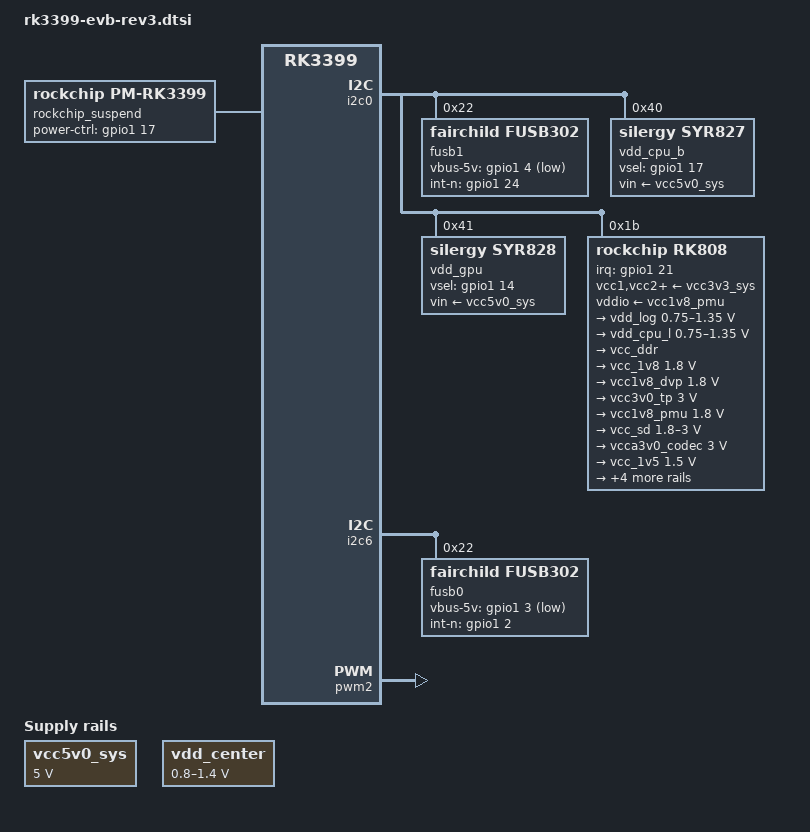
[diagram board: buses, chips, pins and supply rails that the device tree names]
/*
 * Copyright (c) 2016 Fuzhou Rockchip Electronics Co., Ltd
 *
 * This file is dual-licensed: you can use it either under the terms
 * of the GPL or the X11 license, at your option. Note that this dual
 * licensing only applies to this file, and not this project as a
 * whole.
 *
 *  a) This file is free software; you can redistribute it and/or
 *     modify it under the terms of the GNU General Public License as
 *     published by the Free Software Foundation; either version 2 of the
 *     License, or (at your option) any later version.
 *
 *     This file is distributed in the hope that it will be useful,
 *     but WITHOUT ANY WARRANTY; without even the implied warranty of
 *     MERCHANTABILITY or FITNESS FOR A PARTICULAR PURPOSE.  See the
 *     GNU General Public License for more details.
 *
 * Or, alternatively,
 *
 *  b) Permission is hereby granted, free of charge, to any person
 *     obtaining a copy of this software and associated documentation
 *     files (the "Software"), to deal in the Software without
 *     restriction, including without limitation the rights to use,
 *     copy, modify, merge, publish, distribute, sublicense, and/or
 *     sell copies of the Software, and to permit persons to whom the
 *     Software is furnished to do so, subject to the following
 *     conditions:
 *
 *     The above copyright notice and this permission notice shall be
 *     included in all copies or substantial portions of the Software.
 *
 *     THE SOFTWARE IS PROVIDED "AS IS", WITHOUT WARRANTY OF ANY KIND,
 *     EXPRESS OR IMPLIED, INCLUDING BUT NOT LIMITED TO THE WARRANTIES
 *     OF MERCHANTABILITY, FITNESS FOR A PARTICULAR PURPOSE AND
 *     NONINFRINGEMENT. IN NO EVENT SHALL THE AUTHORS OR COPYRIGHT
 *     HOLDERS BE LIABLE FOR ANY CLAIM, DAMAGES OR OTHER LIABILITY,
 *     WHETHER IN AN ACTION OF CONTRACT, TORT OR OTHERWISE, ARISING
 *     FROM, OUT OF OR IN CONNECTION WITH THE SOFTWARE OR THE USE OR
 *     OTHER DEALINGS IN THE SOFTWARE.
 */

#include "rk3399-evb.dtsi"
#include <dt-bindings/suspend/rockchip-rk3399.h>

/ {
	compatible = "rockchip,rk3399-evb-rev3", "rockchip,rk3399";

	vcc5v0_sys: vcc5v0-sys {
		compatible = "regulator-fixed";
		regulator-name = "vcc5v0_sys";
		regulator-always-on;
		regulator-boot-on;
		regulator-min-microvolt = <5000000>;
		regulator-max-microvolt = <5000000>;
	};

	vdd_center: vdd-center {
		compatible = "pwm-regulator";
		rockchip,pwm_id = <2>;
		rockchip,pwm_voltage = <900000>;
		pwms = <&pwm2 0 25000 1>;
		regulator-name = "vdd_center";
		regulator-min-microvolt = <800000>;
		regulator-max-microvolt = <1400000>;
		regulator-always-on;
		regulator-boot-on;
	};

	rockchip_suspend: rockchip-suspend {
		compatible = "rockchip,pm-rk3399";
		status = "okay";
		rockchip,sleep-debug-en = <1>;
		rockchip,wakeup-config = <
			(0
			| RKPM_GPIO_WKUP_EN
			)
		>;
		rockchip,pwm-regulator-config = <
			(0
			| PWM2_REGULATOR_EN
			)
		>;
		rockchip,power-ctrl =
			<&gpio1 17 GPIO_ACTIVE_HIGH>;
	};
};

&i2c0 {
	fusb1: fusb30x@22 {
		compatible = "fairchild,fusb302";
		reg = <0x22>;
		pinctrl-names = "default";
		pinctrl-0 = <&fusb1_int>;
		vbus-5v-gpios = <&gpio1 4 GPIO_ACTIVE_LOW>;
		int-n-gpios = <&gpio1 24 GPIO_ACTIVE_HIGH>;
		status = "okay";
	};

	vdd_cpu_b: syr827@40 {
		compatible = "silergy,syr827";
		reg = <0x40>;
		vin-supply = <&vcc5v0_sys>;
		regulator-compatible = "fan53555-reg";
		pinctrl-0 = <&vsel1_gpio>;
		vsel-gpios = <&gpio1 17 GPIO_ACTIVE_HIGH>;
		regulator-name = "vdd_cpu_b";
		regulator-min-microvolt = <712500>;
		regulator-max-microvolt = <1500000>;
		regulator-ramp-delay = <1000>;
		fcs,suspend-voltage-selector = <1>;
		regulator-always-on;
		regulator-boot-on;
		regulator-initial-state = <3>;
			regulator-state-mem {
			regulator-off-in-suspend;
		};
	};

	vdd_gpu: syr828@41 {
		compatible = "silergy,syr828";
		reg = <0x41>;
		vin-supply = <&vcc5v0_sys>;
		regulator-compatible = "fan53555-reg";
		pinctrl-0 = <&vsel2_gpio>;
		vsel-gpios = <&gpio1 14 GPIO_ACTIVE_HIGH>;
		regulator-name = "vdd_gpu";
		regulator-min-microvolt = <712500>;
		regulator-max-microvolt = <1500000>;
		regulator-ramp-delay = <1000>;
		fcs,suspend-voltage-selector = <1>;
		regulator-always-on;
		regulator-boot-on;
		regulator-initial-state = <3>;
			regulator-state-mem {
			regulator-off-in-suspend;
		};
	};

	rk808: pmic@1b {
		compatible = "rockchip,rk808";
		reg = <0x1b>;
		interrupt-parent = <&gpio1>;
		interrupts = <21 IRQ_TYPE_LEVEL_LOW>;
		pinctrl-names = "default";
		pinctrl-0 = <&pmic_int_l &pmic_dvs2>;
		rockchip,system-power-controller;
		wakeup-source;
		#clock-cells = <1>;
		clock-output-names = "xin32k", "rk808-clkout2";

		vcc1-supply = <&vcc3v3_sys>;
		vcc2-supply = <&vcc3v3_sys>;
		vcc3-supply = <&vcc3v3_sys>;
		vcc4-supply = <&vcc3v3_sys>;
		vcc6-supply = <&vcc3v3_sys>;
		vcc7-supply = <&vcc3v3_sys>;
		vcc8-supply = <&vcc3v3_sys>;
		vcc9-supply = <&vcc3v3_sys>;
		vcc10-supply = <&vcc3v3_sys>;
		vcc11-supply = <&vcc3v3_sys>;
		vcc12-supply = <&vcc3v3_sys>;
		vddio-supply = <&vcc1v8_pmu>;

		regulators {
			vdd_log: DCDC_REG1 {
				regulator-always-on;
				regulator-boot-on;
				regulator-min-microvolt = <750000>;
				regulator-max-microvolt = <1350000>;
				regulator-ramp-delay = <6001>;
				regulator-name = "vdd_log";
				regulator-state-mem {
					regulator-on-in-suspend;
					regulator-suspend-microvolt = <900000>;
				};
			};

			vdd_cpu_l: DCDC_REG2 {
				regulator-always-on;
				regulator-boot-on;
				regulator-min-microvolt = <750000>;
				regulator-max-microvolt = <1350000>;
				regulator-ramp-delay = <6001>;
				regulator-name = "vdd_cpu_l";
				regulator-state-mem {
					regulator-off-in-suspend;
				};
			};

			vcc_ddr: DCDC_REG3 {
				regulator-always-on;
				regulator-boot-on;
				regulator-name = "vcc_ddr";
				regulator-state-mem {
					regulator-on-in-suspend;
				};
			};

			vcc_1v8: DCDC_REG4 {
				regulator-always-on;
				regulator-boot-on;
				regulator-min-microvolt = <1800000>;
				regulator-max-microvolt = <1800000>;
				regulator-name = "vcc_1v8";
				regulator-state-mem {
					regulator-on-in-suspend;
					regulator-suspend-microvolt = <1800000>;
				};
			};

			vcc1v8_dvp: LDO_REG1 {
				regulator-always-on;
				regulator-boot-on;
				regulator-min-microvolt = <1800000>;
				regulator-max-microvolt = <1800000>;
				regulator-name = "vcc1v8_dvp";
				regulator-state-mem {
					regulator-off-in-suspend;
				};
			};

			vcc3v0_tp: LDO_REG2 {
				regulator-always-on;
				regulator-boot-on;
				regulator-min-microvolt = <3000000>;
				regulator-max-microvolt = <3000000>;
				regulator-name = "vcc3v0_tp";
				regulator-state-mem {
					regulator-off-in-suspend;
				};
			};

			vcc1v8_pmu: LDO_REG3 {
				regulator-always-on;
				regulator-boot-on;
				regulator-min-microvolt = <1800000>;
				regulator-max-microvolt = <1800000>;
				regulator-name = "vcc1v8_pmu";
				regulator-state-mem {
					regulator-on-in-suspend;
					regulator-suspend-microvolt = <1800000>;
				};
			};

			vcc_sd: LDO_REG4 {
				regulator-always-on;
				regulator-boot-on;
				regulator-min-microvolt = <1800000>;
				regulator-max-microvolt = <3000000>;
				regulator-name = "vcc_sd";
				regulator-state-mem {
					regulator-on-in-suspend;
					regulator-suspend-microvolt = <3000000>;
				};
			};

			vcca3v0_codec: LDO_REG5 {
				regulator-always-on;
				regulator-boot-on;
				regulator-min-microvolt = <3000000>;
				regulator-max-microvolt = <3000000>;
				regulator-name = "vcca3v0_codec";
				regulator-state-mem {
					regulator-off-in-suspend;
				};
			};

			vcc_1v5: LDO_REG6 {
				regulator-always-on;
				regulator-boot-on;
				regulator-min-microvolt = <1500000>;
				regulator-max-microvolt = <1500000>;
				regulator-name = "vcc_1v5";
				regulator-state-mem {
					regulator-on-in-suspend;
					regulator-suspend-microvolt = <1500000>;
				};
			};

			vcca1v8_codec: LDO_REG7 {
				regulator-always-on;
				regulator-boot-on;
				regulator-min-microvolt = <1800000>;
				regulator-max-microvolt = <1800000>;
				regulator-name = "vcca1v8_codec";
				regulator-state-mem {
					regulator-off-in-suspend;
				};
			};

			vcc_3v0: LDO_REG8 {
				regulator-always-on;
				regulator-boot-on;
				regulator-min-microvolt = <3000000>;
				regulator-max-microvolt = <3000000>;
				regulator-name = "vcc_3v0";
				regulator-state-mem {
					regulator-on-in-suspend;
					regulator-suspend-microvolt = <3000000>;
				};
			};

			vcc3v3_s3: SWITCH_REG1 {
				regulator-always-on;
				regulator-boot-on;
				regulator-name = "vcc3v3_s3";
				regulator-state-mem {
					regulator-on-in-suspend;
				};
			};

			vcc3v3_s0: SWITCH_REG2 {
				regulator-always-on;
				regulator-boot-on;
				regulator-name = "vcc3v3_s0";
				regulator-state-mem {
					regulator-off-in-suspend;
				};
			};
		};
	};
};

&es8316 {
	reg = <0x11>;
};

&i2c6 {
	status = "okay";
	fusb0: fusb30x@22 {
		compatible = "fairchild,fusb302";
		reg = <0x22>;
		pinctrl-names = "default";
		pinctrl-0 = <&fusb0_int>;
		vbus-5v-gpios = <&gpio1 3 GPIO_ACTIVE_LOW>;
		int-n-gpios = <&gpio1 2 GPIO_ACTIVE_HIGH>;
		status = "okay";
	};
};

&pwm2 {
	status = "okay";
};
